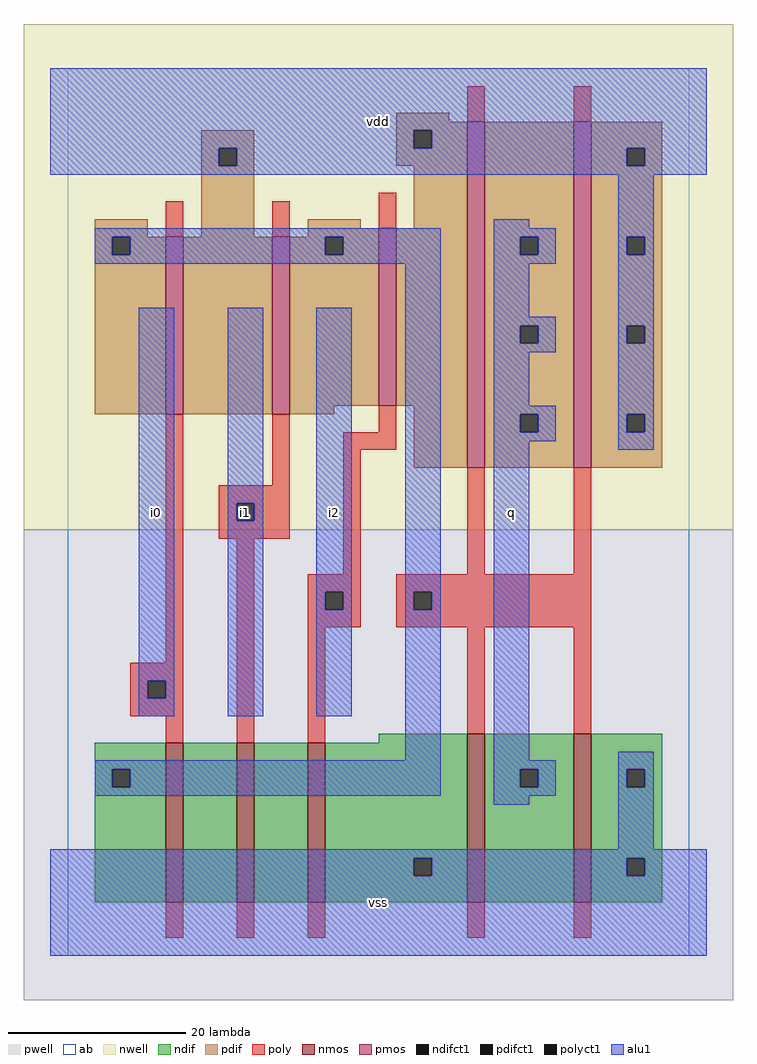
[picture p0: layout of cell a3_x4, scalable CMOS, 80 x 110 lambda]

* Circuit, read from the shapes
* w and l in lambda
.subckt a3_x4 i0 i1 i2 q vdd vss
M1 n1 i0 n2 VSUBS nfet w=18 l=2
M2 n3 i1 n1 VSUBS nfet w=18 l=2
M3 vss i2 n3 VSUBS nfet w=18 l=2
M4 q n2 vss VSUBS nfet w=19 l=2 m=2
M5 vdd i0 n2 n4 pfet w=20 l=2
M6 n2 i1 vdd n4 pfet w=20 l=2
M7 vdd i2 n2 n4 pfet w=20 l=2
M8 q n2 vdd n4 pfet w=39 l=2 m=2
.ends

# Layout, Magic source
magic
tech scmos
<< ab >>
rect 0 0 70 100
<< nwell >>
rect -5 48 75 105
<< pwell >>
rect -5 -5 75 48
<< poly >>
rect 45 94 47 98
rect 57 94 59 98
rect 11 81 13 85
rect 23 81 25 85
rect 35 82 37 86
rect 11 33 13 61
rect 23 53 25 61
rect 35 59 37 62
rect 17 51 25 53
rect 17 49 19 51
rect 21 49 25 51
rect 17 47 25 49
rect 31 57 37 59
rect 7 31 13 33
rect 7 29 9 31
rect 11 29 13 31
rect 7 27 13 29
rect 11 24 13 27
rect 19 24 21 47
rect 31 43 33 57
rect 45 43 47 55
rect 57 43 59 55
rect 27 41 33 43
rect 27 39 29 41
rect 31 39 33 41
rect 27 37 33 39
rect 37 41 59 43
rect 37 39 39 41
rect 41 39 59 41
rect 37 37 59 39
rect 27 24 29 37
rect 45 25 47 37
rect 57 25 59 37
rect 11 2 13 6
rect 19 2 21 6
rect 27 2 29 6
rect 45 2 47 6
rect 57 2 59 6
<< ndif >>
rect 35 24 45 25
rect 3 21 11 24
rect 3 19 5 21
rect 7 19 11 21
rect 3 6 11 19
rect 13 6 19 24
rect 21 6 27 24
rect 29 11 45 24
rect 29 9 39 11
rect 41 9 45 11
rect 29 6 45 9
rect 47 21 57 25
rect 47 19 51 21
rect 53 19 57 21
rect 47 6 57 19
rect 59 21 67 25
rect 59 19 63 21
rect 65 19 67 21
rect 59 11 67 19
rect 59 9 63 11
rect 65 9 67 11
rect 59 6 67 9
<< pdif >>
rect 37 94 43 95
rect 37 93 45 94
rect 15 91 21 93
rect 15 89 17 91
rect 19 89 21 91
rect 37 91 39 93
rect 41 91 45 93
rect 37 89 45 91
rect 3 81 9 83
rect 15 81 21 89
rect 27 82 33 83
rect 39 82 45 89
rect 27 81 35 82
rect 3 79 5 81
rect 7 79 11 81
rect 3 61 11 79
rect 13 61 23 81
rect 25 79 29 81
rect 31 79 35 81
rect 25 62 35 79
rect 37 62 45 82
rect 25 61 30 62
rect 39 55 45 62
rect 47 81 57 94
rect 47 79 51 81
rect 53 79 57 81
rect 47 71 57 79
rect 47 69 51 71
rect 53 69 57 71
rect 47 61 57 69
rect 47 59 51 61
rect 53 59 57 61
rect 47 55 57 59
rect 59 91 67 94
rect 59 89 63 91
rect 65 89 67 91
rect 59 81 67 89
rect 59 79 63 81
rect 65 79 67 81
rect 59 71 67 79
rect 59 69 63 71
rect 65 69 67 71
rect 59 61 67 69
rect 59 59 63 61
rect 65 59 67 61
rect 59 55 67 59
<< alu1 >>
rect -2 93 72 100
rect -2 91 39 93
rect 41 91 72 93
rect -2 89 17 91
rect 19 89 63 91
rect 65 89 72 91
rect -2 88 72 89
rect 48 82 52 83
rect 3 81 42 82
rect 3 79 5 81
rect 7 79 29 81
rect 31 79 42 81
rect 3 78 42 79
rect 8 31 12 73
rect 8 29 9 31
rect 11 29 12 31
rect 8 27 12 29
rect 18 51 22 73
rect 18 49 19 51
rect 21 49 22 51
rect 18 27 22 49
rect 28 41 32 73
rect 28 39 29 41
rect 31 39 32 41
rect 28 27 32 39
rect 38 41 42 78
rect 38 39 39 41
rect 41 39 42 41
rect 38 22 42 39
rect 3 21 42 22
rect 3 19 5 21
rect 7 19 42 21
rect 3 18 42 19
rect 48 81 55 82
rect 48 79 51 81
rect 53 79 55 81
rect 48 78 55 79
rect 62 81 66 88
rect 62 79 63 81
rect 65 79 66 81
rect 48 72 52 78
rect 48 71 55 72
rect 48 69 51 71
rect 53 69 55 71
rect 48 68 55 69
rect 62 71 66 79
rect 62 69 63 71
rect 65 69 66 71
rect 48 62 52 68
rect 48 61 55 62
rect 48 59 51 61
rect 53 59 55 61
rect 48 58 55 59
rect 62 61 66 69
rect 62 59 63 61
rect 65 59 66 61
rect 48 22 52 58
rect 62 57 66 59
rect 48 21 55 22
rect 48 19 51 21
rect 53 19 55 21
rect 48 18 55 19
rect 62 21 66 23
rect 62 19 63 21
rect 65 19 66 21
rect 48 17 52 18
rect 62 12 66 19
rect -2 11 72 12
rect -2 9 39 11
rect 41 9 63 11
rect 65 9 72 11
rect -2 0 72 9
<< nmos >>
rect 11 6 13 24
rect 19 6 21 24
rect 27 6 29 24
rect 45 6 47 25
rect 57 6 59 25
<< pmos >>
rect 11 61 13 81
rect 23 61 25 81
rect 35 62 37 82
rect 45 55 47 94
rect 57 55 59 94
<< polyct1 >>
rect 19 49 21 51
rect 9 29 11 31
rect 29 39 31 41
rect 39 39 41 41
<< ndifct1 >>
rect 5 19 7 21
rect 39 9 41 11
rect 51 19 53 21
rect 63 19 65 21
rect 63 9 65 11
<< pdifct1 >>
rect 17 89 19 91
rect 39 91 41 93
rect 5 79 7 81
rect 29 79 31 81
rect 51 79 53 81
rect 51 69 53 71
rect 51 59 53 61
rect 63 89 65 91
rect 63 79 65 81
rect 63 69 65 71
rect 63 59 65 61
<< labels >>
rlabel alu1 10 50 10 50 6 i0
rlabel alu1 30 50 30 50 6 i2
rlabel polyct1 20 50 20 50 6 i1
rlabel alu1 35 6 35 6 6 vss
rlabel alu1 50 50 50 50 6 q
rlabel alu1 35 94 35 94 6 vdd
<< end >>
